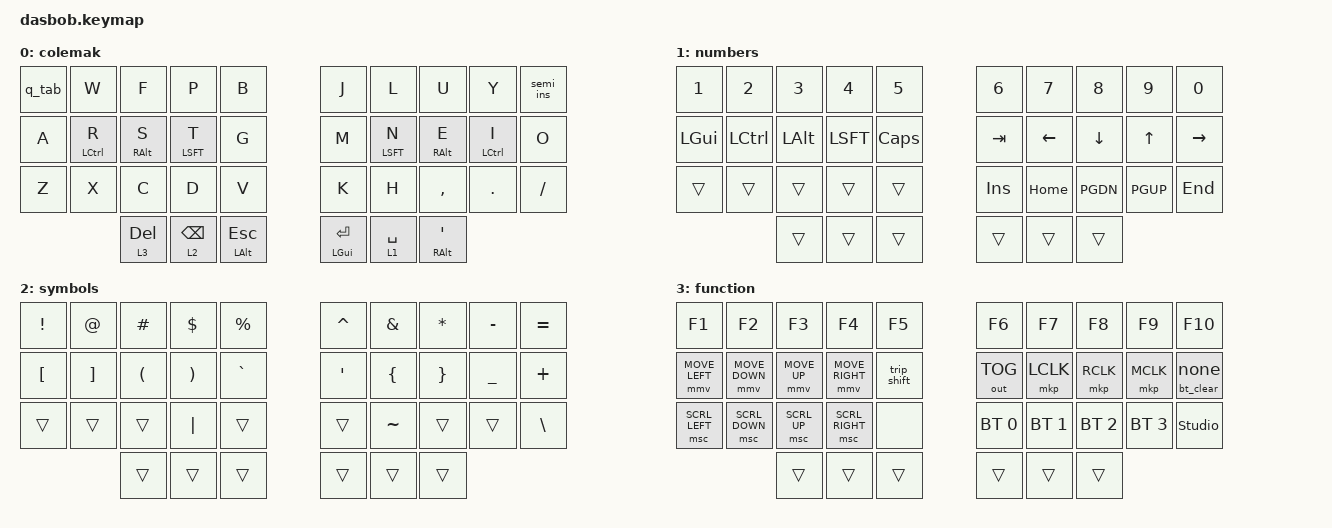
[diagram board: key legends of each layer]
#include <behaviors.dtsi>
#include <dt-bindings/zmk/keys.h>
#include <dt-bindings/zmk/pointing.h>
#include <dt-bindings/zmk/bt.h>
#include <dt-bindings/zmk/outputs.h>

// Define custom behaviors for timeless homerow mods (urobs style)
/ {
    behaviors {
        // Timeless homerow mods (urob): positional hold-tap, a mod only triggers
        // when the opposite hand (or a thumb) is pressed. Same-hand rolls stay taps.
        hml: homerow_mods_left {
            compatible = "zmk,behavior-hold-tap";
            label = "HOMEROW_MODS_LEFT";
            #binding-cells = <2>;
            flavor = "tap-preferred";
            tapping-term-ms = <180>;
            quick-tap-ms = <175>;
            require-prior-idle-ms = <100>;
            hold-trigger-on-release;
            hold-trigger-key-positions = <5 6 7 8 9 15 16 17 18 19 25 26 27 28 29 33 34 35>;
            bindings = <&kp>, <&kp>;
        };

        hmr: homerow_mods_right {
            compatible = "zmk,behavior-hold-tap";
            label = "HOMEROW_MODS_RIGHT";
            #binding-cells = <2>;
            flavor = "tap-preferred";
            tapping-term-ms = <180>;
            quick-tap-ms = <175>;
            require-prior-idle-ms = <100>;
            hold-trigger-on-release;
            hold-trigger-key-positions = <0 1 2 3 4 10 11 12 13 14 20 21 22 23 24 30 31 32>;
            bindings = <&kp>, <&kp>;
        };

        // Thumb mods: no positional logic
        tm: thumb_mods {
            compatible = "zmk,behavior-hold-tap";
            label = "THUMB_MODS";
            #binding-cells = <2>;
            flavor = "balanced";
            tapping-term-ms = <280>;
            quick-tap-ms = <175>;
            bindings = <&kp>, <&kp>;
        };

        // Alt+Q = Tab, Alt+; = Insert (QMK key overrides)
        q_tab: q_tab {
            compatible = "zmk,behavior-mod-morph";
            label = "Q_TAB";
            #binding-cells = <0>;
            bindings = <&kp Q>, <&kp TAB>;
            mods = <(MOD_LALT)>;
        };

        semi_ins: semi_ins {
            compatible = "zmk,behavior-mod-morph";
            label = "SEMI_INS";
            #binding-cells = <0>;
            bindings = <&kp SEMI>, <&kp INS>;
            mods = <(MOD_LALT)>;
        };

        // Layer tap with quick-tap
        lt_tap: layer_tap_quick {
            compatible = "zmk,behavior-hold-tap";
            label = "LAYER_TAP_QUICK";
            #binding-cells = <2>;
            tapping-term-ms = <200>;
            quick-tap-ms = <150>;
            flavor = "balanced";
            bindings = <&mo>, <&kp>;
        };

        bt_clear_hold: bluetooth_clear_hold {
            compatible = "zmk,behavior-hold-tap";
            #binding-cells = <2>;
            flavor = "tap-preferred";
            tapping-term-ms = <1500>;
            bindings = <&bt_clear>, <&none>;
        };
    };

    macros {
        bt_clear: bluetooth_clear {
            compatible = "zmk,behavior-macro";
            #binding-cells = <0>;
            bindings = <&bt BT_CLR>;
        };

        // Triple Shift macro (search activation)
        trip_shift: triple_shift {
            compatible = "zmk,behavior-macro";
            #binding-cells = <0>;
            bindings = <&kp LSFT &kp LSFT &kp LSFT>;
            label = "TRIPLE_SHIFT";
        };
    };

    combos {
        compatible = "zmk,combos";
        // Q + W = Tab
        combo_tab {
            timeout-ms = <50>;
            key-positions = <0 1>;
            bindings = <&kp TAB>;
            layers = <0>;
        };
    };

    keymap {
        compatible = "zmk,keymap";

        Base {
            display-name = "colemak";
            bindings = <
  &q_tab          &kp W           &kp F           &kp P           &kp B           &kp J           &kp L           &kp U           &kp Y           &semi_ins
  &kp A           &hml LCTL R      &hml RALT S      &hml LSFT T      &kp G           &kp M           &hmr LSFT N      &hmr RALT E      &hmr LCTL I      &kp O
  &kp Z           &kp X           &kp C           &kp D           &kp V           &kp K           &kp H           &kp COMMA       &kp DOT         &kp SLASH
                                                  &lt_tap 3 DEL   &lt_tap 2 BSPC  &tm LALT ESC    &tm LGUI ENTER  &lt_tap 1 SPACE &tm RALT SQT
            >;
        };

        Num {
            display-name = "numbers";
            bindings = <
  &kp N1          &kp N2          &kp N3          &kp N4          &kp N5          &kp N6          &kp N7          &kp N8          &kp N9          &kp N0
  &kp LGUI        &kp LCTL        &kp LALT        &kp LSFT        &kp CAPS        &kp TAB         &kp LEFT        &kp DOWN        &kp UP          &kp RIGHT
  &trans          &trans          &trans          &trans          &trans         &kp INS           &kp HOME        &kp PGDN        &kp PGUP        &kp END
                                                  &trans          &trans          &trans          &trans          &trans          &trans
            >;
        };

        Sym {
            display-name = "symbols";
            bindings = <
  &kp EXCL        &kp AT          &kp HASH        &kp DLLR        &kp PRCNT       &kp CARET       &kp AMPS        &kp STAR        &kp MINUS       &kp EQUAL
  &kp LBKT        &kp RBKT        &kp LPRN        &kp RPRN        &kp GRAVE       &kp SQT          &kp LBRC        &kp RBRC        &kp UNDER       &kp PLUS
  &trans          &trans          &trans          &kp PIPE        &trans          &trans          &kp TILDE       &trans          &trans          &kp BSLH
                                                  &trans          &trans          &trans          &trans          &trans          &trans
            >;
        };

        Fun {
            display-name = "function";
            bindings = <
  &kp F1          &kp F2          &kp F3          &kp F4          &kp F5          &kp F6          &kp F7          &kp F8          &kp F9          &kp F10
  &mmv MOVE_LEFT  &mmv MOVE_DOWN  &mmv MOVE_UP    &mmv MOVE_RIGHT &trip_shift     &out OUT_TOG    &mkp LCLK       &mkp RCLK       &mkp MCLK       &bt_clear_hold 0 0
  &msc SCRL_LEFT  &msc SCRL_DOWN  &msc SCRL_UP    &msc SCRL_RIGHT &none           &bt BT_SEL 0    &bt BT_SEL 1    &bt BT_SEL 2    &bt BT_SEL 3    &studio_unlock
                                                  &trans          &trans          &trans          &trans          &trans          &trans
            >;
        };
    };
};
